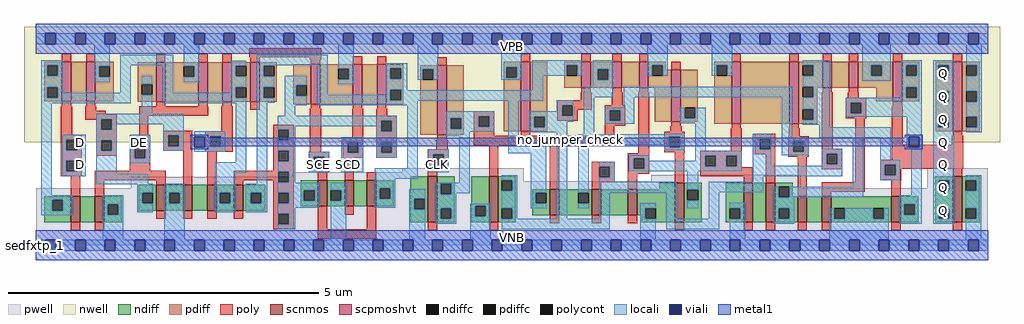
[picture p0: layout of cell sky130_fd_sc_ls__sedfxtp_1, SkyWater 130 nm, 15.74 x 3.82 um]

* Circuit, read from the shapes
.subckt sky130_fd_sc_ls__sedfxtp_1 CLK D DE SCD SCE VGND VNB VPB VPWR Q
XM1 n1 D n2 VNB sky130_fd_pr__nfet_01v8 w=0.42 l=0.15
XM2 VGND DE n1 VNB sky130_fd_pr__nfet_01v8 w=0.42 l=0.15
XM3 VGND DE n3 VNB sky130_fd_pr__nfet_01v8 w=0.42 l=0.15
XM4 n4 n3 VGND VNB sky130_fd_pr__nfet_01v8 w=0.42 l=0.15
XM5 n2 n5 n4 VNB sky130_fd_pr__nfet_01v8 w=0.42 l=0.15
XM6 n6 n7 n2 VNB sky130_fd_pr__nfet_01v8 w=0.42 l=0.15
XM7 VGND SCE n7 VNB sky130_fd_pr__nfet_01v8 w=0.42 l=0.15
XM8 n8 SCD VGND VNB sky130_fd_pr__nfet_01v8 w=0.42 l=0.15
XM9 n6 SCE n8 VNB sky130_fd_pr__nfet_01v8 w=0.42 l=0.15
XM10 n9 CLK VGND VNB sky130_fd_pr__nfet_01v8 w=0.74 l=0.15
XM11 n10 n9 VGND VNB sky130_fd_pr__nfet_01v8 w=0.74 l=0.15
XM12 n11 n9 n6 VNB sky130_fd_pr__nfet_01v8 w=0.42 l=0.15
XM13 n12 n10 n11 VNB sky130_fd_pr__nfet_01v8 w=0.42 l=0.15
XM14 VGND n13 n12 VNB sky130_fd_pr__nfet_01v8 w=0.42 l=0.15
XM15 n13 n11 VGND VNB sky130_fd_pr__nfet_01v8 w=0.64 l=0.15
XM16 n14 n13 VGND VNB sky130_fd_pr__nfet_01v8 w=0.64 l=0.15
XM17 n15 n10 n14 VNB sky130_fd_pr__nfet_01v8 w=0.64 l=0.15
XM18 n16 n9 n15 VNB sky130_fd_pr__nfet_01v8 w=0.42 l=0.15
XM19 VGND n5 n16 VNB sky130_fd_pr__nfet_01v8 w=0.42 l=0.15
XM20 n5 n15 VGND VNB sky130_fd_pr__nfet_01v8 w=0.42 l=0.15
XM21 VGND n15 Q VNB sky130_fd_pr__nfet_01v8 w=0.74 l=0.15
XM22 n17 D n2 VPB sky130_fd_pr__pfet_01v8_hvt w=0.64 l=0.15
XM23 VPWR n3 n17 VPB sky130_fd_pr__pfet_01v8_hvt w=0.64 l=0.15
XM24 VPWR DE n3 VPB sky130_fd_pr__pfet_01v8_hvt w=0.64 l=0.15
XM25 n18 DE VPWR VPB sky130_fd_pr__pfet_01v8_hvt w=0.64 l=0.15
XM26 n2 n5 n18 VPB sky130_fd_pr__pfet_01v8_hvt w=0.64 l=0.15
XM27 n6 SCE n2 VPB sky130_fd_pr__pfet_01v8_hvt w=0.64 l=0.15
XM28 VPWR SCE n7 VPB sky130_fd_pr__pfet_01v8_hvt w=0.64 l=0.15
XM29 n19 SCD VPWR VPB sky130_fd_pr__pfet_01v8_hvt w=0.64 l=0.15
XM30 n6 n7 n19 VPB sky130_fd_pr__pfet_01v8_hvt w=0.64 l=0.15
XM31 n9 CLK VPWR VPB sky130_fd_pr__pfet_01v8_hvt w=1.12 l=0.15
XM32 n10 n9 VPWR VPB sky130_fd_pr__pfet_01v8_hvt w=1.12 l=0.15
XM33 n11 n10 n6 VPB sky130_fd_pr__pfet_01v8_hvt w=0.42 l=0.15
XM34 n20 n9 n11 VPB sky130_fd_pr__pfet_01v8_hvt w=0.42 l=0.15
XM35 VPWR n13 n20 VPB sky130_fd_pr__pfet_01v8_hvt w=0.42 l=0.15
XM36 n13 n11 VPWR VPB sky130_fd_pr__pfet_01v8_hvt w=0.84 l=0.15
XM37 n21 n13 VPWR VPB sky130_fd_pr__pfet_01v8_hvt w=1 l=0.15
XM38 n15 n9 n21 VPB sky130_fd_pr__pfet_01v8_hvt w=1 l=0.15
XM39 n22 n10 n15 VPB sky130_fd_pr__pfet_01v8_hvt w=0.42 l=0.15
XM40 VPWR n5 n22 VPB sky130_fd_pr__pfet_01v8_hvt w=0.42 l=0.15
XM41 n5 n15 VPWR VPB sky130_fd_pr__pfet_01v8_hvt w=0.64 l=0.15
XM42 VPWR n15 Q VPB sky130_fd_pr__pfet_01v8_hvt w=1.12 l=0.15
.ends

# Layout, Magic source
magic
tech sky130A
magscale 1 2
<< nwell >>
rect -38 332 3110 704
rect 1204 320 1416 332
<< pwell >>
rect 1182 235 1574 248
rect 828 221 1574 235
rect 306 207 1574 221
rect 1985 207 2468 228
rect 306 184 2468 207
rect 2875 184 3071 248
rect 1 49 3071 184
rect 0 0 3072 49
<< scnmos >>
rect 113 74 143 158
rect 191 74 221 158
rect 389 111 419 195
rect 475 111 505 195
rect 553 111 583 195
rect 639 111 669 195
rect 910 125 940 209
rect 996 125 1026 209
rect 1068 125 1098 209
rect 1265 74 1295 222
rect 1462 74 1492 222
rect 1658 97 1688 181
rect 1794 97 1824 181
rect 1910 97 1940 181
rect 2061 74 2091 202
rect 2283 74 2313 202
rect 2355 74 2385 202
rect 2457 74 2487 158
rect 2535 74 2565 158
rect 2760 74 2790 158
rect 2958 74 2988 222
<< scpmoshvt >>
rect 84 464 114 592
rect 162 464 192 592
rect 388 463 418 591
rect 524 463 554 591
rect 602 463 632 591
rect 692 463 722 591
rect 887 455 917 583
rect 1023 455 1053 583
rect 1101 455 1131 583
rect 1295 356 1325 580
rect 1565 368 1595 592
rect 1760 508 1790 592
rect 1860 508 1890 592
rect 1946 508 1976 592
rect 2050 398 2080 566
rect 2244 392 2274 592
rect 2431 392 2461 592
rect 2538 508 2568 592
rect 2622 508 2652 592
rect 2764 464 2794 592
rect 2958 368 2988 592
<< ndiff >>
rect 332 170 389 195
rect 27 146 113 158
rect 27 112 53 146
rect 87 112 113 146
rect 27 74 113 112
rect 143 74 191 158
rect 221 133 278 158
rect 221 99 232 133
rect 266 99 278 133
rect 332 136 344 170
rect 378 136 389 170
rect 332 111 389 136
rect 419 170 475 195
rect 419 136 430 170
rect 464 136 475 170
rect 419 111 475 136
rect 505 111 553 195
rect 583 170 639 195
rect 583 136 594 170
rect 628 136 639 170
rect 583 111 639 136
rect 669 170 740 195
rect 669 136 694 170
rect 728 136 740 170
rect 669 111 740 136
rect 221 74 278 99
rect 854 178 910 209
rect 854 144 865 178
rect 899 144 910 178
rect 854 125 910 144
rect 940 178 996 209
rect 940 144 951 178
rect 985 144 996 178
rect 940 125 996 144
rect 1026 125 1068 209
rect 1098 184 1154 209
rect 1098 150 1109 184
rect 1143 150 1154 184
rect 1098 125 1154 150
rect 1208 150 1265 222
rect 1208 116 1220 150
rect 1254 116 1265 150
rect 1208 74 1265 116
rect 1295 199 1351 222
rect 1295 165 1306 199
rect 1340 165 1351 199
rect 1295 120 1351 165
rect 1295 86 1306 120
rect 1340 86 1351 120
rect 1295 74 1351 86
rect 1405 127 1462 222
rect 1405 93 1417 127
rect 1451 93 1462 127
rect 1405 74 1462 93
rect 1492 210 1548 222
rect 1492 176 1503 210
rect 1537 176 1548 210
rect 2011 181 2061 202
rect 1492 120 1548 176
rect 1492 86 1503 120
rect 1537 86 1548 120
rect 1602 169 1658 181
rect 1602 135 1613 169
rect 1647 135 1658 169
rect 1602 97 1658 135
rect 1688 169 1794 181
rect 1688 135 1749 169
rect 1783 135 1794 169
rect 1688 97 1794 135
rect 1824 97 1910 181
rect 1940 120 2061 181
rect 1940 97 1966 120
rect 1492 74 1548 86
rect 1955 86 1966 97
rect 2000 86 2061 120
rect 1955 74 2061 86
rect 2091 179 2148 202
rect 2091 145 2102 179
rect 2136 145 2148 179
rect 2091 74 2148 145
rect 2226 120 2283 202
rect 2226 86 2238 120
rect 2272 86 2283 120
rect 2226 74 2283 86
rect 2313 74 2355 202
rect 2385 188 2442 202
rect 2385 154 2396 188
rect 2430 158 2442 188
rect 2901 210 2958 222
rect 2901 176 2913 210
rect 2947 176 2958 210
rect 2430 154 2457 158
rect 2385 120 2457 154
rect 2385 86 2396 120
rect 2430 86 2457 120
rect 2385 74 2457 86
rect 2487 74 2535 158
rect 2565 120 2760 158
rect 2565 86 2576 120
rect 2610 86 2701 120
rect 2735 86 2760 120
rect 2565 74 2760 86
rect 2790 133 2847 158
rect 2790 99 2801 133
rect 2835 99 2847 133
rect 2790 74 2847 99
rect 2901 120 2958 176
rect 2901 86 2913 120
rect 2947 86 2958 120
rect 2901 74 2958 86
rect 2988 210 3045 222
rect 2988 176 2999 210
rect 3033 176 3045 210
rect 2988 120 3045 176
rect 2988 86 2999 120
rect 3033 86 3045 120
rect 2988 74 3045 86
<< pdiff >>
rect 27 580 84 592
rect 27 546 37 580
rect 71 546 84 580
rect 27 510 84 546
rect 27 476 37 510
rect 71 476 84 510
rect 27 464 84 476
rect 114 464 162 592
rect 192 578 251 592
rect 192 544 205 578
rect 239 544 251 578
rect 192 464 251 544
rect 329 520 388 591
rect 329 486 341 520
rect 375 486 388 520
rect 329 463 388 486
rect 418 577 524 591
rect 418 543 477 577
rect 511 543 524 577
rect 418 463 524 543
rect 554 463 602 591
rect 632 579 692 591
rect 632 545 645 579
rect 679 545 692 579
rect 632 509 692 545
rect 632 475 645 509
rect 679 475 692 509
rect 632 463 692 475
rect 722 579 777 591
rect 722 545 735 579
rect 769 545 777 579
rect 722 509 777 545
rect 722 475 735 509
rect 769 475 777 509
rect 722 463 777 475
rect 831 516 887 583
rect 831 482 840 516
rect 874 482 887 516
rect 831 455 887 482
rect 917 570 1023 583
rect 917 536 976 570
rect 1010 536 1023 570
rect 917 455 1023 536
rect 1053 455 1101 583
rect 1131 571 1186 583
rect 1131 537 1144 571
rect 1178 537 1186 571
rect 1131 501 1186 537
rect 1131 467 1144 501
rect 1178 467 1186 501
rect 1131 455 1186 467
rect 1240 568 1295 580
rect 1240 534 1248 568
rect 1282 534 1295 568
rect 1240 356 1295 534
rect 1325 409 1380 580
rect 1510 574 1565 592
rect 1510 540 1518 574
rect 1552 540 1565 574
rect 1325 375 1338 409
rect 1372 375 1380 409
rect 1325 356 1380 375
rect 1510 368 1565 540
rect 1595 415 1650 592
rect 1704 580 1760 592
rect 1704 546 1713 580
rect 1747 546 1760 580
rect 1704 508 1760 546
rect 1790 567 1860 592
rect 1790 533 1813 567
rect 1847 533 1860 567
rect 1790 508 1860 533
rect 1890 508 1946 592
rect 1976 580 2032 592
rect 1976 546 1989 580
rect 2023 566 2032 580
rect 2189 580 2244 592
rect 2023 546 2050 566
rect 1976 508 2050 546
rect 1595 381 1608 415
rect 1642 381 1650 415
rect 1595 368 1650 381
rect 1997 398 2050 508
rect 2080 444 2135 566
rect 2080 410 2093 444
rect 2127 410 2135 444
rect 2080 398 2135 410
rect 2189 546 2197 580
rect 2231 546 2244 580
rect 2189 392 2244 546
rect 2274 392 2431 592
rect 2461 580 2538 592
rect 2461 546 2474 580
rect 2508 546 2538 580
rect 2461 512 2538 546
rect 2461 478 2474 512
rect 2508 508 2538 512
rect 2568 508 2622 592
rect 2652 580 2764 592
rect 2652 546 2694 580
rect 2728 546 2764 580
rect 2652 508 2764 546
rect 2508 478 2520 508
rect 2461 438 2520 478
rect 2461 404 2474 438
rect 2508 404 2520 438
rect 2461 392 2520 404
rect 2711 464 2764 508
rect 2794 580 2849 592
rect 2794 546 2807 580
rect 2841 546 2849 580
rect 2794 510 2849 546
rect 2794 476 2807 510
rect 2841 476 2849 510
rect 2794 464 2849 476
rect 2903 580 2958 592
rect 2903 546 2911 580
rect 2945 546 2958 580
rect 2903 497 2958 546
rect 2903 463 2911 497
rect 2945 463 2958 497
rect 2903 414 2958 463
rect 2903 380 2911 414
rect 2945 380 2958 414
rect 2903 368 2958 380
rect 2988 580 3045 592
rect 2988 546 3001 580
rect 3035 546 3045 580
rect 2988 497 3045 546
rect 2988 463 3001 497
rect 3035 463 3045 497
rect 2988 414 3045 463
rect 2988 380 3001 414
rect 3035 380 3045 414
rect 2988 368 3045 380
<< ndiffc >>
rect 53 112 87 146
rect 232 99 266 133
rect 344 136 378 170
rect 430 136 464 170
rect 594 136 628 170
rect 694 136 728 170
rect 865 144 899 178
rect 951 144 985 178
rect 1109 150 1143 184
rect 1220 116 1254 150
rect 1306 165 1340 199
rect 1306 86 1340 120
rect 1417 93 1451 127
rect 1503 176 1537 210
rect 1503 86 1537 120
rect 1613 135 1647 169
rect 1749 135 1783 169
rect 1966 86 2000 120
rect 2102 145 2136 179
rect 2238 86 2272 120
rect 2396 154 2430 188
rect 2913 176 2947 210
rect 2396 86 2430 120
rect 2576 86 2610 120
rect 2701 86 2735 120
rect 2801 99 2835 133
rect 2913 86 2947 120
rect 2999 176 3033 210
rect 2999 86 3033 120
<< pdiffc >>
rect 37 546 71 580
rect 37 476 71 510
rect 205 544 239 578
rect 341 486 375 520
rect 477 543 511 577
rect 645 545 679 579
rect 645 475 679 509
rect 735 545 769 579
rect 735 475 769 509
rect 840 482 874 516
rect 976 536 1010 570
rect 1144 537 1178 571
rect 1144 467 1178 501
rect 1248 534 1282 568
rect 1518 540 1552 574
rect 1338 375 1372 409
rect 1713 546 1747 580
rect 1813 533 1847 567
rect 1989 546 2023 580
rect 1608 381 1642 415
rect 2093 410 2127 444
rect 2197 546 2231 580
rect 2474 546 2508 580
rect 2474 478 2508 512
rect 2694 546 2728 580
rect 2474 404 2508 438
rect 2807 546 2841 580
rect 2807 476 2841 510
rect 2911 546 2945 580
rect 2911 463 2945 497
rect 2911 380 2945 414
rect 3001 546 3035 580
rect 3001 463 3035 497
rect 3001 380 3035 414
<< poly >>
rect 84 592 114 618
rect 162 592 192 618
rect 388 591 418 617
rect 524 591 554 617
rect 602 591 632 617
rect 689 606 920 636
rect 692 591 722 606
rect 884 598 920 606
rect 84 449 114 464
rect 162 449 192 464
rect 887 583 917 598
rect 1023 583 1053 609
rect 1101 583 1131 609
rect 81 356 117 449
rect 159 434 195 449
rect 388 448 418 463
rect 524 448 554 463
rect 602 448 632 463
rect 159 422 225 434
rect 159 406 261 422
rect 159 404 211 406
rect 195 372 211 404
rect 245 372 261 406
rect 81 340 149 356
rect 81 306 99 340
rect 133 306 149 340
rect 81 272 149 306
rect 195 338 261 372
rect 195 304 211 338
rect 245 304 261 338
rect 333 418 557 448
rect 333 330 363 418
rect 411 354 505 370
rect 599 367 635 448
rect 692 437 722 463
rect 1295 580 1325 606
rect 1565 592 1595 618
rect 1760 592 1790 618
rect 1860 592 1890 618
rect 1946 592 1976 618
rect 2244 592 2274 618
rect 2431 592 2461 618
rect 2538 592 2568 618
rect 2622 592 2652 618
rect 2764 592 2794 618
rect 2958 592 2988 618
rect 887 440 917 455
rect 1023 440 1053 455
rect 1101 440 1131 455
rect 195 288 261 304
rect 303 314 369 330
rect 81 238 99 272
rect 133 238 149 272
rect 303 280 319 314
rect 353 280 369 314
rect 411 320 427 354
rect 461 320 505 354
rect 411 304 505 320
rect 303 240 369 280
rect 81 222 149 238
rect 113 158 143 222
rect 191 210 419 240
rect 191 158 221 210
rect 389 195 419 210
rect 475 195 505 304
rect 547 351 635 367
rect 547 317 563 351
rect 597 317 635 351
rect 547 301 635 317
rect 766 373 832 389
rect 766 339 782 373
rect 816 339 832 373
rect 766 305 832 339
rect 553 195 583 301
rect 766 271 782 305
rect 816 271 832 305
rect 884 302 920 440
rect 1020 349 1056 440
rect 990 333 1056 349
rect 766 240 832 271
rect 639 237 832 240
rect 639 210 782 237
rect 639 195 669 210
rect 766 203 782 210
rect 816 203 832 237
rect 880 286 946 302
rect 880 252 896 286
rect 930 252 946 286
rect 990 299 1006 333
rect 1040 299 1056 333
rect 990 283 1056 299
rect 1098 417 1134 440
rect 1098 401 1164 417
rect 1098 367 1114 401
rect 1148 367 1164 401
rect 1098 333 1164 367
rect 1412 416 1478 432
rect 1412 382 1428 416
rect 1462 382 1478 416
rect 1295 341 1325 356
rect 1412 353 1478 382
rect 2050 566 2080 592
rect 1760 493 1790 508
rect 1860 493 1890 508
rect 1946 493 1976 508
rect 1757 467 1793 493
rect 1682 451 1793 467
rect 1857 451 1893 493
rect 1682 417 1698 451
rect 1732 437 1793 451
rect 1732 417 1748 437
rect 1682 401 1748 417
rect 1835 435 1901 451
rect 1835 401 1851 435
rect 1885 401 1901 435
rect 1835 385 1901 401
rect 1565 353 1595 368
rect 1835 353 1865 385
rect 1098 299 1114 333
rect 1148 299 1164 333
rect 1292 310 1328 341
rect 1412 323 1865 353
rect 1098 283 1164 299
rect 1265 294 1332 310
rect 880 236 946 252
rect 910 209 940 236
rect 996 209 1026 283
rect 1265 260 1282 294
rect 1316 260 1332 294
rect 1265 244 1332 260
rect 1068 209 1098 235
rect 1265 222 1295 244
rect 1462 222 1492 323
rect 766 169 832 203
rect 766 135 782 169
rect 816 135 832 169
rect 389 85 419 111
rect 475 85 505 111
rect 553 85 583 111
rect 639 85 669 111
rect 766 101 832 135
rect 113 48 143 74
rect 191 48 221 74
rect 766 67 782 101
rect 816 67 832 101
rect 766 51 832 67
rect 910 51 940 125
rect 996 99 1026 125
rect 1068 51 1098 125
rect 1658 181 1688 323
rect 1943 297 1979 493
rect 2050 383 2080 398
rect 2538 493 2568 508
rect 2622 493 2652 508
rect 2047 366 2083 383
rect 2244 377 2274 392
rect 2431 377 2461 392
rect 2027 350 2093 366
rect 2027 316 2043 350
rect 2077 316 2093 350
rect 2027 300 2093 316
rect 2241 305 2277 377
rect 1910 281 1979 297
rect 1794 253 1868 269
rect 1794 219 1818 253
rect 1852 219 1868 253
rect 1794 203 1868 219
rect 1910 247 1929 281
rect 1963 247 1979 281
rect 1910 231 1979 247
rect 1794 181 1824 203
rect 1910 181 1940 231
rect 2061 202 2091 300
rect 2143 289 2277 305
rect 2319 344 2385 360
rect 2428 351 2464 377
rect 2319 310 2335 344
rect 2369 310 2385 344
rect 2319 294 2385 310
rect 2143 255 2159 289
rect 2193 255 2227 289
rect 2261 255 2277 289
rect 2143 252 2277 255
rect 2143 222 2313 252
rect 2283 202 2313 222
rect 2355 202 2385 294
rect 2427 335 2493 351
rect 2427 301 2443 335
rect 2477 301 2493 335
rect 2427 285 2493 301
rect 2535 311 2571 493
rect 2619 476 2655 493
rect 2613 460 2679 476
rect 2613 426 2629 460
rect 2663 426 2679 460
rect 2764 449 2794 464
rect 2613 410 2679 426
rect 2535 295 2601 311
rect 910 21 1098 51
rect 1265 48 1295 74
rect 1462 48 1492 74
rect 1658 71 1688 97
rect 1794 71 1824 97
rect 1910 71 1940 97
rect 2457 158 2487 285
rect 2535 261 2551 295
rect 2585 261 2601 295
rect 2535 245 2601 261
rect 2643 203 2673 410
rect 2761 324 2797 449
rect 2958 353 2988 368
rect 2955 324 2991 353
rect 2761 276 2991 324
rect 2723 260 2991 276
rect 2723 226 2739 260
rect 2773 246 2991 260
rect 2773 226 2791 246
rect 2723 210 2791 226
rect 2958 222 2988 246
rect 2535 173 2673 203
rect 2535 158 2565 173
rect 2760 158 2790 210
rect 2061 48 2091 74
rect 2283 48 2313 74
rect 2355 48 2385 74
rect 2457 48 2487 74
rect 2535 48 2565 74
rect 2760 48 2790 74
rect 2958 48 2988 74
<< polycont >>
rect 211 372 245 406
rect 99 306 133 340
rect 211 304 245 338
rect 99 238 133 272
rect 319 280 353 314
rect 427 320 461 354
rect 563 317 597 351
rect 782 339 816 373
rect 782 271 816 305
rect 782 203 816 237
rect 896 252 930 286
rect 1006 299 1040 333
rect 1114 367 1148 401
rect 1428 382 1462 416
rect 1698 417 1732 451
rect 1851 401 1885 435
rect 1114 299 1148 333
rect 1282 260 1316 294
rect 782 135 816 169
rect 782 67 816 101
rect 2043 316 2077 350
rect 1818 219 1852 253
rect 1929 247 1963 281
rect 2335 310 2369 344
rect 2159 255 2193 289
rect 2227 255 2261 289
rect 2443 301 2477 335
rect 2629 426 2663 460
rect 2551 261 2585 295
rect 2739 226 2773 260
<< locali >>
rect 0 649 31 683
rect 65 649 127 683
rect 161 649 223 683
rect 257 649 319 683
rect 353 649 415 683
rect 449 649 511 683
rect 545 649 607 683
rect 641 649 703 683
rect 737 649 799 683
rect 833 649 895 683
rect 929 649 991 683
rect 1025 649 1087 683
rect 1121 649 1183 683
rect 1217 649 1279 683
rect 1313 649 1375 683
rect 1409 649 1471 683
rect 1505 649 1567 683
rect 1601 649 1663 683
rect 1697 649 1759 683
rect 1793 649 1855 683
rect 1889 649 1951 683
rect 1985 649 2047 683
rect 2081 649 2143 683
rect 2177 649 2239 683
rect 2273 649 2335 683
rect 2369 649 2431 683
rect 2465 649 2527 683
rect 2561 649 2623 683
rect 2657 649 2719 683
rect 2753 649 2815 683
rect 2849 649 2911 683
rect 2945 649 3007 683
rect 3041 649 3072 683
rect 17 580 87 596
rect 17 546 37 580
rect 71 546 87 580
rect 17 510 87 546
rect 189 578 239 649
rect 189 544 205 578
rect 189 526 239 544
rect 273 581 443 615
rect 17 476 37 510
rect 71 492 87 510
rect 273 492 307 581
rect 71 476 307 492
rect 17 458 307 476
rect 341 520 375 547
rect 17 162 51 458
rect 341 424 375 486
rect 409 492 443 581
rect 477 577 527 649
rect 511 543 527 577
rect 477 526 527 543
rect 629 579 679 595
rect 629 545 645 579
rect 629 509 679 545
rect 629 492 645 509
rect 409 475 645 492
rect 409 458 679 475
rect 195 406 477 424
rect 195 372 211 406
rect 245 390 477 406
rect 245 372 261 390
rect 85 340 161 356
rect 85 306 99 340
rect 133 306 161 340
rect 85 272 161 306
rect 85 238 99 272
rect 133 238 161 272
rect 85 222 161 238
rect 195 338 261 372
rect 195 304 211 338
rect 245 304 261 338
rect 195 230 261 304
rect 303 314 369 356
rect 303 280 319 314
rect 353 280 369 314
rect 411 354 477 390
rect 411 320 427 354
rect 461 320 477 354
rect 411 304 477 320
rect 511 351 611 367
rect 511 350 563 351
rect 545 317 563 350
rect 597 317 611 351
rect 545 316 611 317
rect 511 301 611 316
rect 303 264 369 280
rect 645 267 679 458
rect 578 233 679 267
rect 713 581 942 615
rect 713 579 769 581
rect 713 545 735 579
rect 713 509 769 545
rect 713 475 735 509
rect 713 459 769 475
rect 803 516 874 547
rect 803 482 840 516
rect 195 199 362 230
rect 195 196 378 199
rect 328 170 378 196
rect 17 146 118 162
rect 17 112 53 146
rect 87 112 118 146
rect 17 96 118 112
rect 216 133 282 162
rect 216 99 232 133
rect 266 99 282 133
rect 328 136 344 170
rect 328 107 378 136
rect 414 170 480 199
rect 414 136 430 170
rect 464 136 480 170
rect 216 17 282 99
rect 414 17 480 136
rect 578 170 644 233
rect 713 199 747 459
rect 803 451 874 482
rect 908 485 942 581
rect 976 570 1026 649
rect 1010 536 1026 570
rect 976 519 1026 536
rect 1128 571 1198 587
rect 1128 537 1144 571
rect 1178 537 1198 571
rect 1128 501 1198 537
rect 1232 568 1298 649
rect 1232 534 1248 568
rect 1282 534 1298 568
rect 1502 574 1568 649
rect 1502 540 1518 574
rect 1552 540 1568 574
rect 1502 534 1568 540
rect 1602 580 1763 596
rect 1602 546 1713 580
rect 1747 546 1763 580
rect 1797 567 1863 596
rect 1128 485 1144 501
rect 908 467 1144 485
rect 1178 500 1198 501
rect 1602 500 1636 546
rect 1797 533 1813 567
rect 1847 533 1863 567
rect 1973 580 2039 649
rect 1973 546 1989 580
rect 2023 546 2039 580
rect 2181 580 2247 649
rect 2181 546 2197 580
rect 2231 546 2247 580
rect 2474 580 2561 596
rect 2508 546 2561 580
rect 1797 512 1863 533
rect 2474 512 2561 546
rect 2666 580 2757 649
rect 2666 546 2694 580
rect 2728 546 2757 580
rect 2666 530 2757 546
rect 2791 580 2857 596
rect 2791 546 2807 580
rect 2841 546 2857 580
rect 1178 467 1636 500
rect 1767 478 1863 512
rect 1897 478 2440 512
rect 908 466 1636 467
rect 908 451 1232 466
rect 803 417 837 451
rect 578 136 594 170
rect 628 136 644 170
rect 578 107 644 136
rect 678 170 747 199
rect 678 136 694 170
rect 728 136 747 170
rect 678 107 747 136
rect 781 401 1164 417
rect 781 383 1114 401
rect 781 373 837 383
rect 781 339 782 373
rect 816 339 837 373
rect 1098 367 1114 383
rect 1148 367 1164 401
rect 781 305 837 339
rect 781 271 782 305
rect 816 271 837 305
rect 985 333 1056 349
rect 781 237 837 271
rect 781 203 782 237
rect 816 203 837 237
rect 880 286 946 302
rect 880 252 896 286
rect 930 252 946 286
rect 880 236 946 252
rect 985 299 1006 333
rect 1040 299 1056 333
rect 985 236 1056 299
rect 1098 333 1164 367
rect 1098 299 1114 333
rect 1148 299 1164 333
rect 1098 283 1164 299
rect 1198 249 1232 451
rect 1322 416 1478 432
rect 1322 409 1428 416
rect 1322 375 1338 409
rect 1372 382 1428 409
rect 1462 382 1478 416
rect 1372 375 1478 382
rect 1322 366 1478 375
rect 1322 352 1400 366
rect 781 202 837 203
rect 1093 215 1232 249
rect 1266 294 1332 310
rect 1266 260 1282 294
rect 1316 260 1332 294
rect 1266 236 1332 260
rect 781 178 915 202
rect 781 169 865 178
rect 781 135 782 169
rect 816 144 865 169
rect 899 144 915 178
rect 816 135 915 144
rect 781 121 915 135
rect 951 178 1001 202
rect 985 144 1001 178
rect 781 101 837 121
rect 781 67 782 101
rect 816 67 837 101
rect 781 51 837 67
rect 951 17 1001 144
rect 1093 184 1159 215
rect 1366 202 1400 352
rect 1524 330 1558 466
rect 1681 451 1733 467
rect 1681 432 1698 451
rect 1592 417 1698 432
rect 1732 417 1733 451
rect 1592 415 1733 417
rect 1592 381 1608 415
rect 1642 398 1733 415
rect 1642 381 1715 398
rect 1592 364 1715 381
rect 1524 296 1647 330
rect 1093 150 1109 184
rect 1143 150 1159 184
rect 1290 199 1400 202
rect 1093 121 1159 150
rect 1204 150 1256 181
rect 1204 116 1220 150
rect 1254 116 1256 150
rect 1204 17 1256 116
rect 1290 165 1306 199
rect 1340 168 1400 199
rect 1503 210 1553 226
rect 1537 176 1553 210
rect 1340 165 1356 168
rect 1290 120 1356 165
rect 1290 86 1306 120
rect 1340 86 1356 120
rect 1290 70 1356 86
rect 1401 127 1467 134
rect 1401 93 1417 127
rect 1451 93 1467 127
rect 1401 17 1467 93
rect 1503 120 1553 176
rect 1537 86 1553 120
rect 1597 169 1647 296
rect 1597 135 1613 169
rect 1597 119 1647 135
rect 1503 85 1553 86
rect 1681 85 1715 364
rect 1767 358 1801 478
rect 1897 444 1931 478
rect 1835 435 1931 444
rect 1835 401 1851 435
rect 1885 401 1931 435
rect 1835 392 1931 401
rect 2077 410 2093 444
rect 2127 410 2161 444
rect 2077 394 2161 410
rect 2027 358 2093 359
rect 1749 350 2093 358
rect 1749 324 2043 350
rect 1749 169 1783 324
rect 2027 316 2043 324
rect 2077 316 2093 350
rect 2027 307 2093 316
rect 2127 305 2161 394
rect 2312 344 2372 360
rect 2312 310 2335 344
rect 2369 310 2372 344
rect 1913 281 1979 290
rect 1749 119 1783 135
rect 1817 253 1868 269
rect 1817 219 1818 253
rect 1852 219 1868 253
rect 1913 247 1929 281
rect 1963 273 1979 281
rect 2127 289 2277 305
rect 2127 273 2159 289
rect 1963 255 2159 273
rect 2193 255 2227 289
rect 2261 255 2277 289
rect 1963 247 2277 255
rect 1913 239 2277 247
rect 2312 256 2372 310
rect 2406 347 2440 478
rect 2508 478 2561 512
rect 2474 438 2561 478
rect 2791 510 2857 546
rect 2791 476 2807 510
rect 2841 476 2857 510
rect 2508 404 2561 438
rect 2613 460 2857 476
rect 2613 426 2629 460
rect 2663 426 2857 460
rect 2613 415 2857 426
rect 2474 388 2561 404
rect 2527 381 2561 388
rect 2527 347 2757 381
rect 2406 335 2493 347
rect 2406 301 2443 335
rect 2477 301 2493 335
rect 2406 290 2493 301
rect 2535 295 2601 311
rect 2535 261 2551 295
rect 2585 261 2601 295
rect 2535 256 2601 261
rect 1913 238 1979 239
rect 1817 204 1868 219
rect 1817 170 2068 204
rect 1817 85 1851 170
rect 1503 51 1851 85
rect 1950 120 2000 136
rect 1950 86 1966 120
rect 1950 17 2000 86
rect 2034 85 2068 170
rect 2102 179 2136 239
rect 2312 222 2601 256
rect 2312 205 2346 222
rect 2102 119 2136 145
rect 2170 171 2346 205
rect 2635 188 2669 347
rect 2723 276 2757 347
rect 2809 350 2857 415
rect 2809 316 2815 350
rect 2849 316 2857 350
rect 2809 310 2857 316
rect 2723 260 2789 276
rect 2723 226 2739 260
rect 2773 226 2789 260
rect 2723 210 2789 226
rect 2170 85 2204 171
rect 2380 154 2396 188
rect 2430 154 2669 188
rect 2823 162 2857 310
rect 2034 51 2204 85
rect 2238 120 2288 137
rect 2272 86 2288 120
rect 2238 17 2288 86
rect 2380 120 2446 154
rect 2785 133 2857 162
rect 2380 86 2396 120
rect 2430 86 2446 120
rect 2380 70 2446 86
rect 2560 86 2576 120
rect 2610 86 2701 120
rect 2735 86 2751 120
rect 2560 17 2751 86
rect 2785 99 2801 133
rect 2835 99 2857 133
rect 2785 70 2857 99
rect 2895 580 2963 596
rect 2895 546 2911 580
rect 2945 546 2963 580
rect 2895 497 2963 546
rect 2895 463 2911 497
rect 2945 463 2963 497
rect 2895 414 2963 463
rect 2895 380 2911 414
rect 2945 380 2963 414
rect 2895 210 2963 380
rect 3001 580 3051 649
rect 3035 546 3051 580
rect 3001 497 3051 546
rect 3035 463 3051 497
rect 3001 414 3051 463
rect 3035 380 3051 414
rect 3001 364 3051 380
rect 2895 176 2913 210
rect 2947 176 2963 210
rect 2895 120 2963 176
rect 2895 86 2913 120
rect 2947 86 2963 120
rect 2895 70 2963 86
rect 2999 210 3049 226
rect 3033 176 3049 210
rect 2999 120 3049 176
rect 3033 86 3049 120
rect 2999 17 3049 86
rect 0 -17 31 17
rect 65 -17 127 17
rect 161 -17 223 17
rect 257 -17 319 17
rect 353 -17 415 17
rect 449 -17 511 17
rect 545 -17 607 17
rect 641 -17 703 17
rect 737 -17 799 17
rect 833 -17 895 17
rect 929 -17 991 17
rect 1025 -17 1087 17
rect 1121 -17 1183 17
rect 1217 -17 1279 17
rect 1313 -17 1375 17
rect 1409 -17 1471 17
rect 1505 -17 1567 17
rect 1601 -17 1663 17
rect 1697 -17 1759 17
rect 1793 -17 1855 17
rect 1889 -17 1951 17
rect 1985 -17 2047 17
rect 2081 -17 2143 17
rect 2177 -17 2239 17
rect 2273 -17 2335 17
rect 2369 -17 2431 17
rect 2465 -17 2527 17
rect 2561 -17 2623 17
rect 2657 -17 2719 17
rect 2753 -17 2815 17
rect 2849 -17 2911 17
rect 2945 -17 3007 17
rect 3041 -17 3072 17
<< viali >>
rect 31 649 65 683
rect 127 649 161 683
rect 223 649 257 683
rect 319 649 353 683
rect 415 649 449 683
rect 511 649 545 683
rect 607 649 641 683
rect 703 649 737 683
rect 799 649 833 683
rect 895 649 929 683
rect 991 649 1025 683
rect 1087 649 1121 683
rect 1183 649 1217 683
rect 1279 649 1313 683
rect 1375 649 1409 683
rect 1471 649 1505 683
rect 1567 649 1601 683
rect 1663 649 1697 683
rect 1759 649 1793 683
rect 1855 649 1889 683
rect 1951 649 1985 683
rect 2047 649 2081 683
rect 2143 649 2177 683
rect 2239 649 2273 683
rect 2335 649 2369 683
rect 2431 649 2465 683
rect 2527 649 2561 683
rect 2623 649 2657 683
rect 2719 649 2753 683
rect 2815 649 2849 683
rect 2911 649 2945 683
rect 3007 649 3041 683
rect 511 316 545 350
rect 2815 316 2849 350
rect 31 -17 65 17
rect 127 -17 161 17
rect 223 -17 257 17
rect 319 -17 353 17
rect 415 -17 449 17
rect 511 -17 545 17
rect 607 -17 641 17
rect 703 -17 737 17
rect 799 -17 833 17
rect 895 -17 929 17
rect 991 -17 1025 17
rect 1087 -17 1121 17
rect 1183 -17 1217 17
rect 1279 -17 1313 17
rect 1375 -17 1409 17
rect 1471 -17 1505 17
rect 1567 -17 1601 17
rect 1663 -17 1697 17
rect 1759 -17 1793 17
rect 1855 -17 1889 17
rect 1951 -17 1985 17
rect 2047 -17 2081 17
rect 2143 -17 2177 17
rect 2239 -17 2273 17
rect 2335 -17 2369 17
rect 2431 -17 2465 17
rect 2527 -17 2561 17
rect 2623 -17 2657 17
rect 2719 -17 2753 17
rect 2815 -17 2849 17
rect 2911 -17 2945 17
rect 3007 -17 3041 17
<< metal1 >>
rect 0 683 3072 715
rect 0 649 31 683
rect 65 649 127 683
rect 161 649 223 683
rect 257 649 319 683
rect 353 649 415 683
rect 449 649 511 683
rect 545 649 607 683
rect 641 649 703 683
rect 737 649 799 683
rect 833 649 895 683
rect 929 649 991 683
rect 1025 649 1087 683
rect 1121 649 1183 683
rect 1217 649 1279 683
rect 1313 649 1375 683
rect 1409 649 1471 683
rect 1505 649 1567 683
rect 1601 649 1663 683
rect 1697 649 1759 683
rect 1793 649 1855 683
rect 1889 649 1951 683
rect 1985 649 2047 683
rect 2081 649 2143 683
rect 2177 649 2239 683
rect 2273 649 2335 683
rect 2369 649 2431 683
rect 2465 649 2527 683
rect 2561 649 2623 683
rect 2657 649 2719 683
rect 2753 649 2815 683
rect 2849 649 2911 683
rect 2945 649 3007 683
rect 3041 649 3072 683
rect 0 617 3072 649
rect 499 350 557 356
rect 499 316 511 350
rect 545 347 557 350
rect 2803 350 2861 356
rect 2803 347 2815 350
rect 545 319 2815 347
rect 545 316 557 319
rect 499 310 557 316
rect 2803 316 2815 319
rect 2849 316 2861 350
rect 2803 310 2861 316
rect 0 17 3072 49
rect 0 -17 31 17
rect 65 -17 127 17
rect 161 -17 223 17
rect 257 -17 319 17
rect 353 -17 415 17
rect 449 -17 511 17
rect 545 -17 607 17
rect 641 -17 703 17
rect 737 -17 799 17
rect 833 -17 895 17
rect 929 -17 991 17
rect 1025 -17 1087 17
rect 1121 -17 1183 17
rect 1217 -17 1279 17
rect 1313 -17 1375 17
rect 1409 -17 1471 17
rect 1505 -17 1567 17
rect 1601 -17 1663 17
rect 1697 -17 1759 17
rect 1793 -17 1855 17
rect 1889 -17 1951 17
rect 1985 -17 2047 17
rect 2081 -17 2143 17
rect 2177 -17 2239 17
rect 2273 -17 2335 17
rect 2369 -17 2431 17
rect 2465 -17 2527 17
rect 2561 -17 2623 17
rect 2657 -17 2719 17
rect 2753 -17 2815 17
rect 2849 -17 2911 17
rect 2945 -17 3007 17
rect 3041 -17 3072 17
rect 0 -49 3072 -17
<< labels >>
rlabel comment s 0 0 0 0 4 sedfxtp_1
flabel comment s 1725 342 1725 342 0 FreeSans 200 0 0 0 no_jumper_check
flabel pwell s 0 0 3072 49 0 FreeSans 200 0 0 0 VNB
port 7 nsew ground bidirectional
flabel nwell s 0 617 3072 666 0 FreeSans 200 0 0 0 VPB
port 8 nsew power bidirectional
flabel metal1 s 0 617 3072 666 0 FreeSans 340 0 0 0 VPWR
port 9 nsew power bidirectional abutment
flabel metal1 s 0 0 3072 49 0 FreeSans 340 0 0 0 VGND
port 6 nsew ground bidirectional abutment
flabel locali s 1279 242 1313 276 0 FreeSans 340 0 0 0 CLK
port 1 nsew clock input
flabel locali s 2911 94 2945 128 0 FreeSans 340 0 0 0 Q
port 10 nsew signal output
flabel locali s 2911 168 2945 202 0 FreeSans 340 0 0 0 Q
port 10 nsew signal output
flabel locali s 2911 242 2945 276 0 FreeSans 340 0 0 0 Q
port 10 nsew signal output
flabel locali s 2911 316 2945 350 0 FreeSans 340 0 0 0 Q
port 10 nsew signal output
flabel locali s 2911 390 2945 424 0 FreeSans 340 0 0 0 Q
port 10 nsew signal output
flabel locali s 2911 464 2945 498 0 FreeSans 340 0 0 0 Q
port 10 nsew signal output
flabel locali s 2911 538 2945 572 0 FreeSans 340 0 0 0 Q
port 10 nsew signal output
flabel locali s 991 242 1025 276 0 FreeSans 340 0 0 0 SCD
port 4 nsew signal input
flabel locali s 895 242 929 276 0 FreeSans 340 0 0 0 SCE
port 5 nsew signal input
flabel locali s 319 316 353 350 0 FreeSans 340 0 0 0 DE
port 3 nsew signal input
flabel locali s 127 242 161 276 0 FreeSans 340 0 0 0 D
port 2 nsew signal input
flabel locali s 127 316 161 350 0 FreeSans 340 0 0 0 D
port 2 nsew signal input
<< properties >>
string LEFsite unit
string LEFclass CORE
string FIXED_BBOX 0 0 3072 666
string GDS_FILE $PDKPATH/libs.ref/sky130_fd_sc_ls/gds/sky130_fd_sc_ls.gds
string LEFsymmetry X Y
string GDS_END 1587028
string GDS_START 1564732
<< end >>
